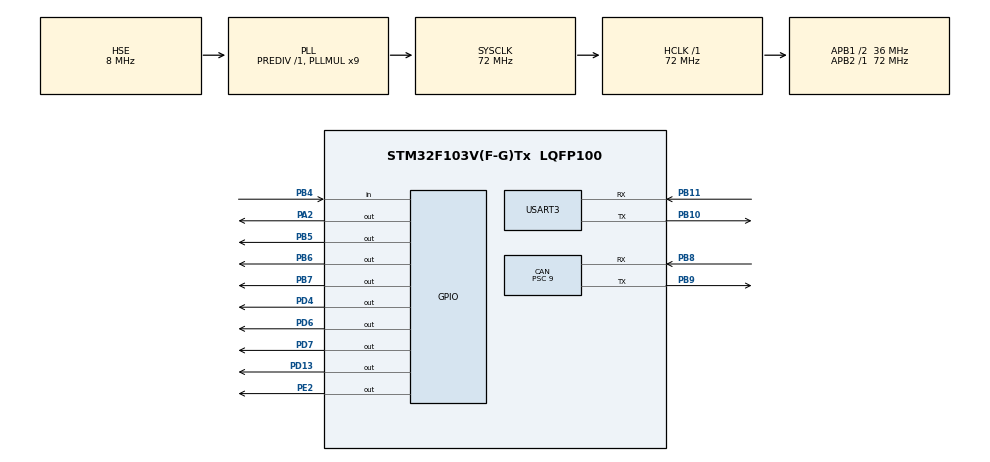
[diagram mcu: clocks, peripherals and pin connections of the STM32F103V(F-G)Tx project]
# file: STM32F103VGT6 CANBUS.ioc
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CAN.BS1=CAN_BS1_6TQ
CAN.CalculateBaudRate=500000
CAN.CalculateTimeBit=2000
CAN.CalculateTimeQuantum=250.0
CAN.Prescaler=9
Mcu.Family=STM32F1
Mcu.Name=STM32F103V(F-G)Tx
Mcu.Package=LQFP100
NVIC.CAN1_RX1_IRQn=true\:0\:0\:false\:false\:true\:true\:true\:true
NVIC.PriorityGroup=NVIC_PRIORITYGROUP_4
NVIC.USB_LP_CAN1_RX0_IRQn=true\:0\:0\:false\:false\:true\:true\:true\:true
OSC_IN.Mode=HSE-External-Oscillator
OSC_IN.Signal=RCC_OSC_IN
OSC_OUT.Mode=HSE-External-Oscillator
OSC_OUT.Signal=RCC_OSC_OUT
PA13.Mode=Serial_Wire
PA13.Signal=SYS_JTMS-SWDIO
PA14.Mode=Serial_Wire
PA14.Signal=SYS_JTCK-SWCLK
PA2.Signal=GPIO_Output
PB10.Mode=Asynchronous
PB10.Signal=USART3_TX
PB11.Mode=Asynchronous
PB11.Signal=USART3_RX
PB4.Signal=GPIO_Input
PB5.Signal=GPIO_Output
PB6.Signal=GPIO_Output
PB7.Signal=GPIO_Output
PB8.Mode=CAN_Activate
PB8.Signal=CAN_RX
PB9.Mode=CAN_Activate
PB9.Signal=CAN_TX
PD13.Signal=GPIO_Output
PD4.Signal=GPIO_Output
PD6.Signal=GPIO_Output
PD7.Signal=GPIO_Output
PE2.Signal=GPIO_Output
ProjectManager.HeapSize=0x200
ProjectManager.StackSize=0x400
ProjectManager.TargetToolchain=STM32CubeIDE
RCC.AHBFreq_Value=72000000
RCC.APB1CLKDivider=RCC_HCLK_DIV2
RCC.APB1Freq_Value=36000000
RCC.APB1TimFreq_Value=72000000
RCC.APB2Freq_Value=72000000
RCC.APB2TimFreq_Value=72000000
RCC.HCLKFreq_Value=72000000
RCC.PLLMUL=RCC_PLL_MUL9
RCC.PLLSourceVirtual=RCC_PLLSOURCE_HSE
RCC.SYSCLKFreq_VALUE=72000000
RCC.SYSCLKSource=RCC_SYSCLKSOURCE_PLLCLK
RCC.USBFreq_Value=72000000
USART3.VirtualMode=VM_ASYNC
board=custom

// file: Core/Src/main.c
/* USER CODE BEGIN Header */
/**
  ******************************************************************************
  * @file           : main.c
  * @brief          : Main program body
  ******************************************************************************
  * @attention
  *
  * Copyright (c) 2026 STMicroelectronics.
  * All rights reserved.
  *
  * This software is licensed under terms that can be found in the LICENSE file
  * in the root directory of this software component.
  * If no LICENSE file comes with this software, it is provided AS-IS.
  *
  ******************************************************************************
  */
/* USER CODE END Header */
#include "main.h"

/* USER CODE BEGIN PD */
#define bitRead(value, bit) (((value) >> (bit)) & 0x01)
#define SER_595_Pin    GPIO_PIN_7
#define SER_595_Port   GPIOD
#define SRCLK_595_Pin  GPIO_PIN_4
#define SRCLK_595_Port GPIOD
#define RCLK_595_Pin   GPIO_PIN_6
#define RCLK_595_Port  GPIOD

#define QH_165_Pin      GPIO_PIN_4
#define QH_165_Port     GPIOB
#define CLKINH_165_Pin  GPIO_PIN_5
#define CLKINH_165_Port GPIOB
#define SHLD_165_Pin    GPIO_PIN_6
#define SHLD_165_Port   GPIOB
#define CLK_165_Pin     GPIO_PIN_7
#define CLK_165_Port    GPIOB

//ID CAN
#define CAN_ID_VCU_REQUEST   0x01
#define CAN_ID_RSM_SEND      0x10
#define CAN_ID_PDSM_EFUSE_CTRL  0x13

//REG ID
#define REG_SENSOR           0x00
#define REG_STATUS_FUSE      0x01

#define FUSE_ON_VALUE       0
#define FUSE_OFF_VALUE      1
/* USER CODE END PD */

CAN_HandleTypeDef hcan;

UART_HandleTypeDef huart3;

/* USER CODE BEGIN PV */
CAN_RxHeaderTypeDef RxHeader;
uint8_t RxData[8];
uint8_t RxDataN[8];

CAN_TxHeaderTypeDef TxHeader;
uint8_t TxData[8];
uint32_t TxMailbox;

volatile uint8_t active_send_sensor = 0;  // tambah ini
volatile uint8_t active_send_fuse   = 0;  // tambah ini

volatile uint16_t uart_rpmR        = 0;   // RPM Roda Kanan (dari Arduino PD2)
volatile uint16_t uart_rpmL        = 0;   // RPM Roda Kiri  (dari Arduino PD3)
volatile uint8_t  uart_rpmValid    = 0;   // 1 = frame terakhir valid
volatile uint8_t  uart_rxByte      = 0;

volatile uint8_t flag_request_sensor = 0;
volatile uint8_t flag_request_fuse   = 0;

volatile int8_t  sustraveRR = 0;
volatile int8_t  sustraveRL = 0;
volatile uint8_t rpmRL_lsb  = 0;
volatile uint8_t rpmRL_msb  = 0;
volatile uint8_t rpmRR_lsb  = 0;
volatile uint8_t rpmRR_msb  = 0;

volatile int8_t  rsmTemp    = 0;
volatile uint8_t fuseStatus = 0;
volatile uint8_t arusLV     = 0;
volatile uint8_t teganganLV = 0;

volatile uint8_t data165 = 0;
volatile uint8_t rxData_ID0_received= 0;
volatile uint8_t rxData_ID0[8];
volatile uint8_t rxData_ID03[8];
uint8_t waktursm1;
uint8_t  waktursm2;
uint32_t waktu_sensor;
uint32_t waktu_fuse;
volatile uint8_t fuseCtrl595 = 0x00;
volatile uint8_t fuseCtrlUpdateFlag = 1;
/* USER CODE END PV */

void SystemClock_Config(void);
static void MX_GPIO_Init(void);
static void MX_CAN_Init(void);
static void MX_USART3_UART_Init(void);
/* USER CODE BEGIN PFP */
void RSM_SendSensorData(void);
void RSM_SendFuseStatusData(void);
void RSM_UpdateSensorData(void);

/* USER CODE END PFP */

/* USER CODE BEGIN 0 */
//void shift595_send(uint8_t data)
//{
//    HAL_GPIO_WritePin(RCLK_595_Port, RCLK_595_Pin, GPIO_PIN_RESET);
//    for (int i = 7; i >= 0; i--)
//    {
//        HAL_GPIO_WritePin(SRCLK_595_Port, SRCLK_595_Pin, GPIO_PIN_RESET);
//        if (data & (1 << i))
//            HAL_GPIO_WritePin(SER_595_Port, SER_595_Pin, GPIO_PIN_SET);
//        else
//            HAL_GPIO_WritePin(SER_595_Port, SER_595_Pin, GPIO_PIN_RESET);
//        HAL_GPIO_WritePin(SRCLK_595_Port, SRCLK_595_Pin, GPIO_PIN_SET);
//    }
//    HAL_GPIO_WritePin(RCLK_595_Port, RCLK_595_Pin, GPIO_PIN_SET);
//}
void shift595_send(uint8_t data)
{
    HAL_GPIO_WritePin(RCLK_595_Port, RCLK_595_Pin, GPIO_PIN_RESET);

    for (int i = 7; i >= 0; i--)
    {
        HAL_GPIO_WritePin(SRCLK_595_Port, SRCLK_595_Pin, GPIO_PIN_RESET);

        if (data & (1 << i))
            HAL_GPIO_WritePin(SER_595_Port, SER_595_Pin, GPIO_PIN_SET);
        else
            HAL_GPIO_WritePin(SER_595_Port, SER_595_Pin, GPIO_PIN_RESET);

        // Tambah delay kecil sebelum rising edge SRCLK
        __NOP(); __NOP(); __NOP();  // atau HAL_Delay(1) untuk debug

        HAL_GPIO_WritePin(SRCLK_595_Port, SRCLK_595_Pin, GPIO_PIN_SET);

        __NOP(); __NOP(); __NOP();
    }

    HAL_GPIO_WritePin(RCLK_595_Port, RCLK_595_Pin, GPIO_PIN_SET);
}

uint8_t shift165_read(void)
{
    uint8_t data = 0;
    HAL_GPIO_WritePin(CLKINH_165_Port, CLKINH_165_Pin, GPIO_PIN_RESET);
    HAL_GPIO_WritePin(SHLD_165_Port, SHLD_165_Pin, GPIO_PIN_RESET);
    HAL_Delay(10);
    HAL_GPIO_WritePin(SHLD_165_Port, SHLD_165_Pin, GPIO_PIN_SET);
    for (int i = 7; i >= 0; i--)
    {
        HAL_GPIO_WritePin(CLK_165_Port, CLK_165_Pin, GPIO_PIN_RESET);
        if (HAL_GPIO_ReadPin(QH_165_Port, QH_165_Pin) == GPIO_PIN_SET)
            data |= (1 << i);
        HAL_GPIO_WritePin(CLK_165_Port, CLK_165_Pin, GPIO_PIN_SET);
    }
    return data;
}

void RSM_SendSensorData(void)
{
    TxHeader.StdId              = CAN_ID_RSM_SEND;
    TxHeader.ExtId              = 0;
    TxHeader.RTR                = CAN_RTR_DATA;
    TxHeader.IDE                = CAN_ID_STD;
    TxHeader.DLC                = 7;
    TxHeader.TransmitGlobalTime = DISABLE;

    TxData[0] = REG_SENSOR;
    TxData[1] = (uint8_t)sustraveRR;
    TxData[2] = (uint8_t)sustraveRL;
    TxData[3] = rpmRL_lsb;
    TxData[4] = rpmRL_msb;
    TxData[5] = rpmRR_lsb;
    TxData[6] = rpmRR_msb;

    HAL_CAN_AddTxMessage(&hcan, &TxHeader, TxData, &TxMailbox);
}

void RSM_SendFuseStatusData(void)
{
    TxHeader.StdId              = CAN_ID_RSM_SEND;
    TxHeader.ExtId              = 0;
    TxHeader.RTR                = CAN_RTR_DATA;
    TxHeader.IDE                = CAN_ID_STD;
    TxHeader.DLC                = 5;
    TxHeader.TransmitGlobalTime = DISABLE;

    TxData[0] = REG_STATUS_FUSE;
    TxData[1] = (uint8_t)rsmTemp;
    TxData[2] = fuseStatus;
    TxData[3] = arusLV;
    TxData[4] = teganganLV;

    HAL_CAN_AddTxMessage(&hcan, &TxHeader, TxData, &TxMailbox);
}
void RSM_UpdateSensorData(void)
{

    data165    = shift165_read();

    fuseStatus = data165;

    sustraveRR = (int8_t)(HAL_GetTick() % 50);
    sustraveRL = (int8_t)(HAL_GetTick() % 40);

    rpmRL_lsb = (uint8_t)(uart_rpmL & 0xFF);
    rpmRL_msb = (uint8_t)((uart_rpmL >> 8) & 0xFF);
    rpmRR_lsb = (uint8_t)(uart_rpmR & 0xFF);
    rpmRR_msb = (uint8_t)((uart_rpmR >> 8) & 0xFF);

    rsmTemp    = (int8_t)(25 + (HAL_GetTick() % 20));
    arusLV     = (uint8_t)(HAL_GetTick() % 50);
    teganganLV = (uint8_t)(12 + (HAL_GetTick() % 5));
}

/* USER CODE END 0 */

int main(void)
{

  /* MCU Configuration--------------------------------------------------------*/

  /* Reset of all peripherals, Initializes the Flash interface and the Systick. */

 	HAL_Init();

  /* Configure the system clock */
  SystemClock_Config();

  /* Initialize all configured peripherals */
  MX_GPIO_Init();
  MX_CAN_Init();
  MX_USART3_UART_Init();

  /* USER CODE BEGIN 2 */
  CAN_FilterTypeDef sFilterConfig;
  sFilterConfig.FilterActivation     = ENABLE;
  sFilterConfig.FilterBank           = 0;
  sFilterConfig.FilterFIFOAssignment = CAN_FILTER_FIFO1;
  sFilterConfig.FilterIdHigh         = (CAN_ID_VCU_REQUEST << 5);
  sFilterConfig.FilterIdLow          = 0;
  sFilterConfig.FilterMaskIdHigh     = (0x7FF << 5);
  sFilterConfig.FilterMaskIdLow      = 0;
  sFilterConfig.FilterMode           = CAN_FILTERMODE_IDMASK;
  sFilterConfig.FilterScale          = CAN_FILTERSCALE_32BIT;
  sFilterConfig.SlaveStartFilterBank = 9;

  HAL_CAN_ConfigFilter(&hcan, &sFilterConfig);

  CAN_FilterTypeDef sFilterConfig2;
  sFilterConfig2.FilterActivation     = ENABLE;
  sFilterConfig2.FilterBank           = 1;
  sFilterConfig2.FilterFIFOAssignment = CAN_FILTER_FIFO1;
  sFilterConfig2.FilterIdHigh         = (0x00 << 5);  // ID 0x00
  sFilterConfig2.FilterIdLow          = 0;
  sFilterConfig2.FilterMaskIdHigh     = (0x7FF << 5);
  sFilterConfig2.FilterMaskIdLow      = 0;
  sFilterConfig2.FilterMode           = CAN_FILTERMODE_IDMASK;
  sFilterConfig2.FilterScale          = CAN_FILTERSCALE_32BIT;
  sFilterConfig2.SlaveStartFilterBank = 9;
  HAL_CAN_ConfigFilter(&hcan, &sFilterConfig2);

  CAN_FilterTypeDef sFilterConfig3;
  sFilterConfig3.FilterActivation     = ENABLE;
  sFilterConfig3.FilterBank           = 2;                  // bank berbeda
  sFilterConfig3.FilterFIFOAssignment = CAN_FILTER_FIFO1;
  sFilterConfig3.FilterIdHigh         = (0x03 << 5);        // ID 0x03
  sFilterConfig3.FilterIdLow          = 0;
  sFilterConfig3.FilterMaskIdHigh     = (0x7FF << 5);
  sFilterConfig3.FilterMaskIdLow      = 0;
  sFilterConfig3.FilterMode           = CAN_FILTERMODE_IDMASK;
  sFilterConfig3.FilterScale          = CAN_FILTERSCALE_32BIT;
  sFilterConfig3.SlaveStartFilterBank = 9;
  HAL_CAN_ConfigFilter(&hcan, &sFilterConfig3);

  CAN_FilterTypeDef sFilterConfig4;
  sFilterConfig4.FilterActivation     = ENABLE;
  sFilterConfig4.FilterBank           = 3;
  sFilterConfig4.FilterFIFOAssignment = CAN_FILTER_FIFO1;
  sFilterConfig4.FilterIdHigh         = (0X13 << 5);
  sFilterConfig4.FilterIdLow          = 0;
  sFilterConfig4.FilterMaskIdHigh     = (0x7FF << 5);
  sFilterConfig4.FilterMaskIdLow      = 0;
  sFilterConfig4.FilterMode           = CAN_FILTERMODE_IDMASK;
  sFilterConfig4.FilterScale          = CAN_FILTERSCALE_32BIT;
  sFilterConfig4.SlaveStartFilterBank = 9;
  HAL_CAN_ConfigFilter(&hcan, &sFilterConfig4);

  HAL_CAN_Start(&hcan);
  HAL_CAN_ActivateNotification(&hcan, CAN_IT_RX_FIFO1_MSG_PENDING);
  HAL_UART_Receive_IT(&huart3, &uart_rxByte, 1);
  HAL_GPIO_WritePin(GPIOE, GPIO_PIN_2, GPIO_PIN_SET);
//  HAL_Delay(250);
//  shift595_send(0b00000001);
//  HAL_Delay(250);
//  shift595_send(0b00000011);
//  HAL_Delay(250);
//  shift595_send(0b0001011);
//  HAL_Delay(250);
//  shift595_send(0b00011011);
//  HAL_Delay(250);
//  shift595_send(0b00111011);
//  HAL_Delay(250);
//  shift595_send(0b01111011);
//  HAL_Delay(250);
//  shift595_send(0b11111011);
//  HAL_Delay(250);
//  shift595_send(0b01111011);
//  HAL_Delay(250);
//  shift595_send(0b00111011);
//  HAL_Delay(250);
//  shift595_send(0b00011011);
//  HAL_Delay(250);
//  shift595_send(0b00001011);
//  HAL_Delay(250);
//  shift595_send(0b00000011);
//  HAL_Delay(250);
//  shift595_send(0b00000001);
//  HAL_Delay(250);
//  shift595_send(0b00000000);

//  shift595_send(0b00000001);
//  HAL_Delay(100);
//
//  shift595_send(0b00000011);
//  HAL_Delay(100);
//
//  shift595_send(0b00001011);
//  HAL_Delay(100);
//
//  shift595_send(0b00011011);
//  HAL_Delay(100);
//
//  shift595_send(0b00111011);
//  HAL_Delay(100);
//
//  shift595_send(0b01111011);
//  HAL_Delay(100);
//
//  shift595_send(0b11111011);
//  HAL_Delay(100);
//
//
//  // Pola balik dari kiri ke kanan
//  shift595_send(0b01111011);
//  HAL_Delay(100);
//
//  shift595_send(0b00111011);
//  HAL_Delay(100);
//
//  shift595_send(0b00011011);
//  HAL_Delay(100);
//
//  shift595_send(0b00001011);
//  HAL_Delay(100);
//
//  shift595_send(0b00000011);
//  HAL_Delay(100);
//
//  shift595_send(0b00000001);
//  HAL_Delay(100);
//
//
//  // Pola nyala satu-satu, lompat bit ke-3
//  shift595_send(0b00000001);
//  HAL_Delay(100);
//
//  shift595_send(0b00000010);
//  HAL_Delay(100);
//
//  shift595_send(0b00001000);
//  HAL_Delay(100);
//
//  shift595_send(0b00010000);
//  HAL_Delay(100);
//
//  shift595_send(0b00100000);
//  HAL_Delay(100);
//
//  shift595_send(0b01000000);
//  HAL_Delay(100);
//
//  shift595_send(0b10000000);
//  HAL_Delay(100);
//
//
//  // Pola satu-satu balik
//  shift595_send(0b10000000);
//  HAL_Delay(100);
//
//  shift595_send(0b01000000);
//  HAL_Delay(100);
//
//  shift595_send(0b00100000);
//  HAL_Delay(100);
//
//  shift595_send(0b00010000);
//  HAL_Delay(100);
//
//  shift595_send(0b00001000);
//  HAL_Delay(100);
//
//  shift595_send(0b00000010);
//  HAL_Delay(100);
//
//  shift595_send(0b00000001);
//  HAL_Delay(100);
//
//
//  // Pola pinggir ke tengah
//  shift595_send(0b10000001);
//  HAL_Delay(100);
//
//  shift595_send(0b11000011);
//  HAL_Delay(100);
//
//  shift595_send(0b11100011);
//  HAL_Delay(100);
//
//  shift595_send(0b11110011);
//  HAL_Delay(100);
//
//  shift595_send(0b11111011);
//  HAL_Delay(100);
//
//
//  // Pola tengah ke pinggir
//  shift595_send(0b00011000);
//  HAL_Delay(100);
//
//  shift595_send(0b00111001);
//  HAL_Delay(100);
//
//  shift595_send(0b01111011);
//  HAL_Delay(100);
//
//  shift595_send(0b11111011);
//  HAL_Delay(100);
//
//
//  // Pola kedip semua
//  shift595_send(0b11111011);
//  HAL_Delay(100);
//
//  shift595_send(0b00000000);
//  HAL_Delay(100);
//
//  shift595_send(0b11111011);
//  HAL_Delay(100);
//
//  shift595_send(0b00000000);
//  HAL_Delay(100);
//
//  shift595_send(0b11111011);
//  HAL_Delay(100);
//
//  shift595_send(0b00000000);
//  HAL_Delay(100);
//
//
//  // Pola selang-seling
//  shift595_send(0b10101011);
//  HAL_Delay(100);
//
//  shift595_send(0b01010001);
//  HAL_Delay(100);
//
//  shift595_send(0b10101011);
//  HAL_Delay(100);
//
//  shift595_send(0b01010001);
//  HAL_Delay(100);
//
//
//  // Pola gelombang 1
//  shift595_send(0b00000001);
//  HAL_Delay(100);
//
//  shift595_send(0b00001011);
//  HAL_Delay(100);
//
//  shift595_send(0b00101011);
//  HAL_Delay(100);
//
//  shift595_send(0b10101011);
//  HAL_Delay(100);
//
//  shift595_send(0b11101011);
//  HAL_Delay(100);
//
//  shift595_send(0b11111011);
//  HAL_Delay(100);
//
//
//  // Pola gelombang 2
//  shift595_send(0b10000000);
//  HAL_Delay(100);
//
//  shift595_send(0b10100000);
//  HAL_Delay(100);
//
//  shift595_send(0b10101000);
//  HAL_Delay(100);
//
//  shift595_send(0b10101010);
//  HAL_Delay(100);
//
//  shift595_send(0b10101011);
//  HAL_Delay(100);
//
//  shift595_send(0b11101011);
//  HAL_Delay(100);
//
//  shift595_send(0b11111011);
//  HAL_Delay(100);
//
//
//  // Pola isi setengah kanan
//  shift595_send(0b00000001);
//  HAL_Delay(100);
//
//  shift595_send(0b00000011);
//  HAL_Delay(100);
//
//  shift595_send(0b00001011);
//  HAL_Delay(100);
//
//  shift595_send(0b00011011);
//  HAL_Delay(100);
//
//
//  // Pola isi setengah kiri
//  shift595_send(0b10000000);
//  HAL_Delay(100);
//
//  shift595_send(0b11000000);
//  HAL_Delay(100);
//
//  shift595_send(0b11100000);
//  HAL_Delay(100);
//
//  shift595_send(0b11110000);
//  HAL_Delay(100);
//
//
//  // Pola pecah tengah
//  shift595_send(0b00011000);
//  HAL_Delay(100);
//
//  shift595_send(0b00101001);
//  HAL_Delay(100);
//
//  shift595_send(0b01001010);
//  HAL_Delay(100);
//
//  shift595_send(0b10000011);
//  HAL_Delay(100);
//
//
//  // Pola gabung lagi
//  shift595_send(0b10000011);
//  HAL_Delay(100);
//
//  shift595_send(0b01001010);
//  HAL_Delay(100);
//
//  shift595_send(0b00101001);
//  HAL_Delay(100);
//
//  shift595_send(0b00011000);
//  HAL_Delay(100);

  // Pola naik turun cepat
  shift595_send(0b00000001);
  HAL_Delay(100);

  shift595_send(0b00001000);
  HAL_Delay(100);

  shift595_send(0b00100000);
  HAL_Delay(100);

  shift595_send(0b10000000);
  HAL_Delay(100);

  shift595_send(0b00100000);
  HAL_Delay(100);

  shift595_send(0b00001000);
  HAL_Delay(100);

  shift595_send(0b00000001);
  HAL_Delay(100);
//
//
//  // Pola random tapi tetap aman bit ke-3
  shift595_send(0b01000011);
  HAL_Delay(100);

  shift595_send(0b10010001);
  HAL_Delay(100);

  shift595_send(0b00110011);
  HAL_Delay(100);

  shift595_send(0b11000001);
  HAL_Delay(100);

  shift595_send(0b01110011);
  HAL_Delay(100);

  shift595_send(0b10110001);
  HAL_Delay(100);

  shift595_send(0b11110011);
  HAL_Delay(100);

  shift595_send(0b11110011);
  HAL_Delay(100);
  shift595_send(0b00000000);
  // Akhiri mati semua
  HAL_Delay(100);

//  HAL_GPIO_WritePin(GPIOD, GPIO_PIN_13, GPIO_PIN_SET);
  /* USER CODE END 2 */

  /* Infinite loop */
  /* USER CODE BEGIN WHILE */
  while (1)
  {

	      RSM_UpdateSensorData();

	      if (active_send_sensor==1){
	    	  if(HAL_GetTick() - waktu_sensor >= waktursm1){
	    		  RSM_SendSensorData();
	    		  waktu_sensor = HAL_GetTick();
	    	  }
	      }

	      if (active_send_fuse==1){
	    	  if(HAL_GetTick() - waktu_fuse >= waktursm2){
	    		  RSM_SendFuseStatusData();
	    		  waktu_fuse = HAL_GetTick();
	    	  }
	      }
	      if (fuseCtrlUpdateFlag)
	      {
	          fuseCtrlUpdateFlag = 0;
	          shift595_send(fuseCtrl595);
	      }

	      if (bitRead(rxData_ID0[0], 0) == 1)
	          HAL_GPIO_WritePin(GPIOD, GPIO_PIN_13, GPIO_PIN_SET);
	      else
	          HAL_GPIO_WritePin(GPIOD, GPIO_PIN_13, GPIO_PIN_RESET);

	      if (bitRead(rxData_ID0[0], 1) == 1)
	          HAL_GPIO_WritePin(GPIOA, GPIO_PIN_2, GPIO_PIN_SET);
	      else
	          HAL_GPIO_WritePin(GPIOA, GPIO_PIN_2, GPIO_PIN_RESET);

	      HAL_Delay(10);

//	  RSM_UpdateSensorData();
//
//	        if (flag_request_sensor)
//	        {
//	            flag_request_sensor = 0;
//	            RSM_SendSensorData();
//	        }
//
//	        if (flag_request_fuse)
//	        {
//	            flag_request_fuse = 0;
//	            RSM_SendFuseStatusData();
//	        }

//	        HAL_Delay(10);

//	        if (rxData_ID0_received)
//	            {
//	                rxData_ID0_received = 0;
//
//	                if (rxData_ID0[0] & (1 << 0))
//	                {
//	                    HAL_GPIO_WritePin(GPIOD, GPIO_PIN_13, GPIO_PIN_SET);
//	                }
//	                else
//	                {
//	                    HAL_GPIO_WritePin(GPIOD, GPIO_PIN_13, GPIO_PIN_RESET);
//	                }
//	            }

//	        	if(RxData[0]==2){
//	        		HAL_GPIO_WritePin(GPIOA, GPIO_PIN_2, GPIO_PIN_SET);
//	        		HAL_Delay(1);
//	        	}else if(RxData[0]==0){
//	        		HAL_GPIO_WritePin(GPIOA, GPIO_PIN_2, GPIO_PIN_RESET);
//	        	}
//        	if(bitRead(rxData_ID0[0],0) ==1){
//        		HAL_GPIO_WritePin(GPIOD, GPIO_PIN_13, GPIO_PIN_SET);
//        		HAL_Delay(1);
//        	}else if(bitRead(rxData_ID0[0],0) ==0){
//        		HAL_GPIO_WritePin(GPIOD, GPIO_PIN_13, GPIO_PIN_RESET);
//        	}
//
//	        	if(bitRead(rxData_ID0[0],1) ==1){
//	        		HAL_GPIO_WritePin(GPIOA, GPIO_PIN_2, GPIO_PIN_SET);
//	        		HAL_Delay(1);
//	        	}else if(bitRead(rxData_ID0[0],1) ==0){
//	        		HAL_GPIO_WritePin(GPIOA, GPIO_PIN_2, GPIO_PIN_RESET);
//	        	}
//	        }

    /* USER CODE END WHILE */

  }
}

void SystemClock_Config(void)
{
  RCC_OscInitTypeDef RCC_OscInitStruct = {0};
  RCC_ClkInitTypeDef RCC_ClkInitStruct = {0};

  /** Initializes the RCC Oscillators according to the specified parameters
  * in the RCC_OscInitTypeDef structure.
  */
  RCC_OscInitStruct.OscillatorType = RCC_OSCILLATORTYPE_HSE;
  RCC_OscInitStruct.HSEState = RCC_HSE_ON;
  RCC_OscInitStruct.HSEPredivValue = RCC_HSE_PREDIV_DIV1;
  RCC_OscInitStruct.HSIState = RCC_HSI_ON;
  RCC_OscInitStruct.PLL.PLLState = RCC_PLL_ON;
  RCC_OscInitStruct.PLL.PLLSource = RCC_PLLSOURCE_HSE;
  RCC_OscInitStruct.PLL.PLLMUL = RCC_PLL_MUL9;
  if (HAL_RCC_OscConfig(&RCC_OscInitStruct) != HAL_OK)
  {
    Error_Handler();
  }

  /** Initializes the CPU, AHB and APB buses clocks
  */
  RCC_ClkInitStruct.ClockType = RCC_CLOCKTYPE_HCLK|RCC_CLOCKTYPE_SYSCLK
                              |RCC_CLOCKTYPE_PCLK1|RCC_CLOCKTYPE_PCLK2;
  RCC_ClkInitStruct.SYSCLKSource = RCC_SYSCLKSOURCE_PLLCLK;
  RCC_ClkInitStruct.AHBCLKDivider = RCC_SYSCLK_DIV1;
  RCC_ClkInitStruct.APB1CLKDivider = RCC_HCLK_DIV2;
  RCC_ClkInitStruct.APB2CLKDivider = RCC_HCLK_DIV1;

  if (HAL_RCC_ClockConfig(&RCC_ClkInitStruct, FLASH_LATENCY_2) != HAL_OK)
  {
    Error_Handler();
  }
}

static void MX_CAN_Init(void)
{

  hcan.Instance = CAN1;
  hcan.Init.Prescaler = 9;
  hcan.Init.Mode = CAN_MODE_NORMAL;
  hcan.Init.SyncJumpWidth = CAN_SJW_1TQ;
  hcan.Init.TimeSeg1 = CAN_BS1_6TQ;
  hcan.Init.TimeSeg2 = CAN_BS2_1TQ;
  hcan.Init.TimeTriggeredMode = DISABLE;
  hcan.Init.AutoBusOff = DISABLE;
  hcan.Init.AutoWakeUp = DISABLE;
  hcan.Init.AutoRetransmission = DISABLE;
  hcan.Init.ReceiveFifoLocked = DISABLE;
  hcan.Init.TransmitFifoPriority = DISABLE;
  if (HAL_CAN_Init(&hcan) != HAL_OK)
  {
    Error_Handler();
  }

}

static void MX_USART3_UART_Init(void)
{

  huart3.Instance = USART3;
  huart3.Init.BaudRate = 115200;
  huart3.Init.WordLength = UART_WORDLENGTH_8B;
  huart3.Init.StopBits = UART_STOPBITS_1;
  huart3.Init.Parity = UART_PARITY_NONE;
  huart3.Init.Mode = UART_MODE_TX_RX;
  huart3.Init.HwFlowCtl = UART_HWCONTROL_NONE;
  huart3.Init.OverSampling = UART_OVERSAMPLING_16;
  if (HAL_UART_Init(&huart3) != HAL_OK)
  {
    Error_Handler();
  }

}

static void MX_GPIO_Init(void)
{
  GPIO_InitTypeDef GPIO_InitStruct = {0};

  /* GPIO Ports Clock Enable */
  __HAL_RCC_GPIOE_CLK_ENABLE();
  __HAL_RCC_GPIOA_CLK_ENABLE();
  __HAL_RCC_GPIOB_CLK_ENABLE();
  __HAL_RCC_GPIOD_CLK_ENABLE();

  /*Configure GPIO pin Output Level */
  HAL_GPIO_WritePin(GPIOE, GPIO_PIN_2, GPIO_PIN_RESET);

  /*Configure GPIO pin Output Level */
  HAL_GPIO_WritePin(GPIOA, GPIO_PIN_2, GPIO_PIN_RESET);

  /*Configure GPIO pin Output Level */
  HAL_GPIO_WritePin(GPIOD, GPIO_PIN_13|GPIO_PIN_4|GPIO_PIN_6|GPIO_PIN_7, GPIO_PIN_RESET);

  /*Configure GPIO pin Output Level */
  HAL_GPIO_WritePin(GPIOB, GPIO_PIN_5|GPIO_PIN_6|GPIO_PIN_7, GPIO_PIN_RESET);

  /*Configure GPIO pin : PE2 */
  GPIO_InitStruct.Pin = GPIO_PIN_2;
  GPIO_InitStruct.Mode = GPIO_MODE_OUTPUT_PP;
  GPIO_InitStruct.Pull = GPIO_NOPULL;
  GPIO_InitStruct.Speed = GPIO_SPEED_FREQ_LOW;
  HAL_GPIO_Init(GPIOE, &GPIO_InitStruct);

  /*Configure GPIO pin : PA2 */
  GPIO_InitStruct.Pin = GPIO_PIN_2;
  GPIO_InitStruct.Mode = GPIO_MODE_OUTPUT_PP;
  GPIO_InitStruct.Pull = GPIO_NOPULL;
  GPIO_InitStruct.Speed = GPIO_SPEED_FREQ_LOW;
  HAL_GPIO_Init(GPIOA, &GPIO_InitStruct);

  /*Configure GPIO pins : PD13 PD4 PD6 PD7 */
  GPIO_InitStruct.Pin = GPIO_PIN_13|GPIO_PIN_4|GPIO_PIN_6|GPIO_PIN_7;
  GPIO_InitStruct.Mode = GPIO_MODE_OUTPUT_PP;
  GPIO_InitStruct.Pull = GPIO_NOPULL;
  GPIO_InitStruct.Speed = GPIO_SPEED_FREQ_LOW;
  HAL_GPIO_Init(GPIOD, &GPIO_InitStruct);

  /*Configure GPIO pin : PB4 */
  GPIO_InitStruct.Pin = GPIO_PIN_4;
  GPIO_InitStruct.Mode = GPIO_MODE_INPUT;
  GPIO_InitStruct.Pull = GPIO_NOPULL;
  HAL_GPIO_Init(GPIOB, &GPIO_InitStruct);

  /*Configure GPIO pins : PB5 PB6 PB7 */
  GPIO_InitStruct.Pin = GPIO_PIN_5|GPIO_PIN_6|GPIO_PIN_7;
  GPIO_InitStruct.Mode = GPIO_MODE_OUTPUT_PP;
  GPIO_InitStruct.Pull = GPIO_NOPULL;
  GPIO_InitStruct.Speed = GPIO_SPEED_FREQ_LOW;
  HAL_GPIO_Init(GPIOB, &GPIO_InitStruct);

}

/* USER CODE BEGIN 4 */
//void HAL_CAN_RxFifo1MsgPendingCallback(CAN_HandleTypeDef *hcan_ptr)
//{
//    if (HAL_CAN_GetRxMessage(hcan_ptr, CAN_RX_FIFO1, &RxHeader, RxData) == HAL_OK)
//    {
//        if (RxHeader.StdId == CAN_ID_VCU_REQUEST)
//        {
//            HAL_GPIO_TogglePin(GPIOE, GPIO_PIN_2);
//
//            switch (RxData[0])
//            {
//                case REG_SENSOR:
//                    flag_request_sensor = 1;
//                    break;
//
//                case REG_STATUS_FUSE:
//                    flag_request_fuse = 1;
//                    break;
//
//                default:
//                    break;
//            }
//        }
//    }
//}

//void HAL_CAN_RxFifo1MsgPendingCallback(CAN_HandleTypeDef *hcan_ptr)
//{
//    if (HAL_CAN_GetRxMessage(hcan_ptr, CAN_RX_FIFO1, &RxHeader, RxData) == HAL_OK)
//    {
//        if (RxHeader.StdId == CAN_ID_VCU_REQUEST)  // ID 0x01 — pakai reg ID
//        {
////            HAL_GPIO_TogglePin(GPIOE, GPIO_PIN_2);
//
//            switch (RxData[0])
//            {
//                case REG_SENSOR:
//                    flag_request_sensor = 1;
//
//                    break;
//                case REG_STATUS_FUSE:
//                    flag_request_fuse = 1;
//                    break;
//                default:
//                    break;
//            }
//        }
//        else if (RxHeader.StdId == 0x00)  // ID 0x00 — langsung baca semua byte
//        {
//            rxData_ID0[0] = RxData[0];
//            rxData_ID0[1] = RxData[1];
//            rxData_ID0[2] = RxData[2];
//            rxData_ID0[3] = RxData[3];
//            rxData_ID0[4] = RxData[4];
//            rxData_ID0[5] = RxData[5];
//            rxData_ID0[6] = RxData[6];
//            rxData_ID0[7] = RxData[7];
//            rxData_ID0_received = 1;
//        }
//
//    }
//}
void HAL_CAN_RxFifo1MsgPendingCallback(CAN_HandleTypeDef *hcan_ptr)
{
    if (HAL_CAN_GetRxMessage(hcan_ptr, CAN_RX_FIFO1, &RxHeader, RxData) == HAL_OK)
    {
        if (RxHeader.StdId == CAN_ID_VCU_REQUEST)
        {
            switch (RxData[0])
            {
                case REG_SENSOR:
                    active_send_sensor = 1;  // latch, tidak akan reset
                    waktursm1 = RxData[1] * 15;
                    break;

                case REG_STATUS_FUSE:
                    active_send_fuse = 1;
                    waktursm2 = RxData[1]* 10;
                    break;

                default:
                    break;
            }
        }
        	//REG ID
           else if (RxHeader.StdId == 0x00)
           	   {
                    rxData_ID0[0] = RxData[0];
                    rxData_ID0[1] = RxData[1];
                    rxData_ID0[2] = RxData[2];
                    rxData_ID0[3] = RxData[3];
                    rxData_ID0[4] = RxData[4];
                    rxData_ID0[5] = RxData[5];
                    rxData_ID0[6] = RxData[6];
                    rxData_ID0[7] = RxData[7];
                    rxData_ID0_received = 1;
                }
           else if (RxHeader.StdId == 0x03)
           	   {
                    rxData_ID03[0] = RxData[0];
                    rxData_ID03[1] = RxData[1];
                    rxData_ID03[2] = RxData[2];
                    rxData_ID03[3] = RxData[3];
                    rxData_ID03[4] = RxData[4];
                    rxData_ID03[5] = RxData[5];
                    rxData_ID03[6] = RxData[6];
                    rxData_ID03[7] = RxData[7];
//                    rxData_ID03_received = 1;
                }
           else if (RxHeader.StdId == CAN_ID_PDSM_EFUSE_CTRL)
           {
               if (RxHeader.DLC >= 1)
               {
                   fuseCtrl595 = RxData[0];        // Byte 0 langsung isi 8-bit eFuse
                   fuseCtrlUpdateFlag = 1;         // nanti dikirim ke shift register di while
               }
           }

    }
}

void HAL_UART_RxCpltCallback(UART_HandleTypeDef *huart)
{
    if (huart->Instance == USART3)
    {
        static uint8_t frame[7];
        static uint8_t idx = 0;

        // Tunggu header '$' (0x24) sebelum mulai kumpul frame
        if (idx == 0 && uart_rxByte != 0x24)
        {
            // Buang byte, tetap idx=0
        }
        else
        {
            frame[idx++] = uart_rxByte;

            if (idx >= 7)
            {
                idx = 0;

                // Validasi header, footer, dan XOR checksum
                if (frame[0] == 0x24 && frame[6] == 0x0A)
                {
                    uint8_t chk = frame[1] ^ frame[2] ^ frame[3] ^ frame[4];
                    if (chk == frame[5])
                    {
                        uart_rpmR     = ((uint16_t)frame[1] << 8) | frame[2];
                        uart_rpmL     = ((uint16_t)frame[3] << 8) | frame[4];
                        uart_rpmValid = 1;
                    }
                }
            }
        }

        // Re-arm interrupt untuk byte berikutnya
        HAL_UART_Receive_IT(&huart3, &uart_rxByte, 1);
    }
}
/* USER CODE END 4 */

void Error_Handler(void)
{
  __disable_irq();
  while (1)
  {
  }
}
